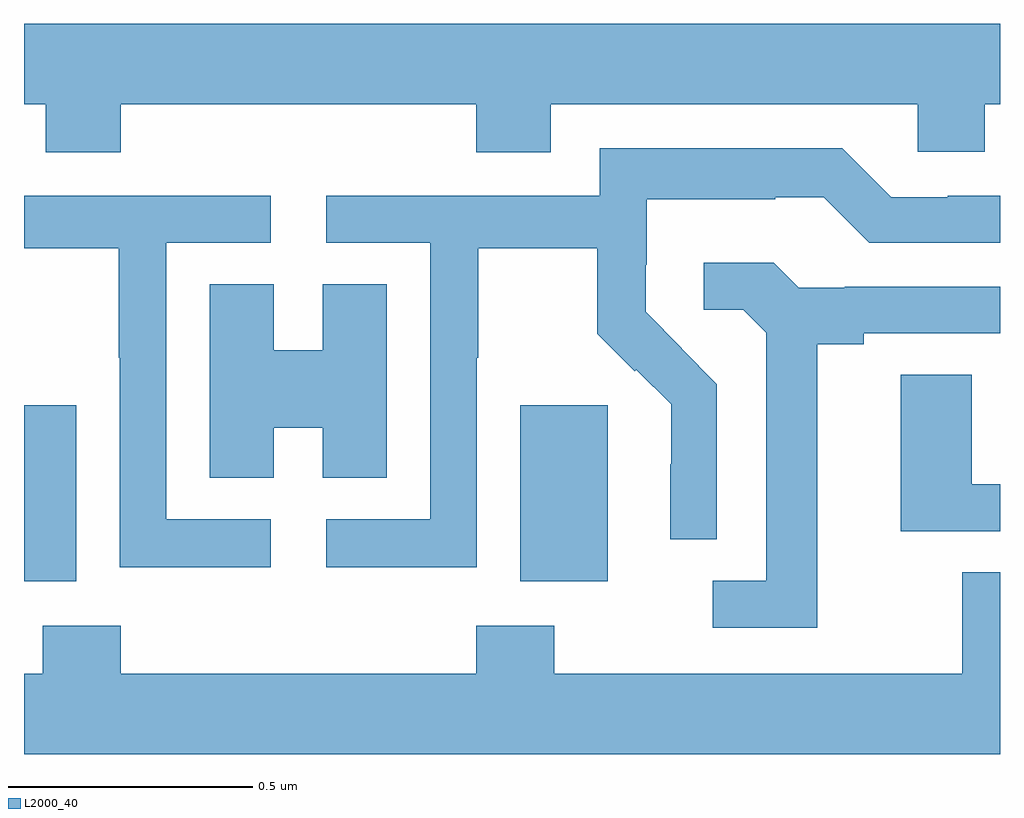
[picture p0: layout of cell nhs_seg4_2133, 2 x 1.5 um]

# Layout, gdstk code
import gdstk
lib = gdstk.Library(unit=1e-6, precision=1e-09)
def R(c, l, rs):  # rectangles x0, y0, x1, y1
    for r in rs: c.add(gdstk.rectangle(r[:2], r[2:], *l))
def P(c, l, *ps):  # polygons
    for p in ps: c.add(gdstk.Polygon(p, *l))
L2000_40 = (2000, 40)

nhs_seg4_2133 = lib.new_cell('nhs_seg4_2133')
R(nhs_seg4_2133, L2000_40, [(137,758.546,137.107,758.907), (138.017,758.546,138.196,758.907)])
P(nhs_seg4_2133, L2000_40, [(137.198,759.524),(137.927,759.524),(137.927,759.425),(138.079,759.425),(138.079,759.524),(138.831,759.524),(138.831,759.426),(138.969,759.426),(138.969,759.524),(139,759.524),(139,759.688),(137,759.688),(137,759.524),(137.045,759.524),(137.045,759.425),(137.198,759.425)],
  [(137.928,759.004),(137.931,759.004),(137.931,759.228),(138.175,759.228),(138.175,759.053),(138.252,758.976),(138.255,758.979),(138.326,758.909),(138.326,758.786),(138.324,758.786),(138.324,758.632),(138.42,758.632),(138.42,758.95),(138.347,759.023),(138.348,759.024),(138.274,759.098),(138.274,759.195),(138.276,759.195),(138.276,759.329),(138.539,759.329),(138.539,759.333),(138.639,759.333),(138.732,759.24),(139,759.24),(139,759.336),(138.893,759.336),(138.893,759.333),(138.777,759.333),(138.677,759.433),(138.18,759.433),(138.18,759.336),(137.619,759.336),(137.619,759.24),(137.832,759.24),(137.832,758.673),(137.619,758.673),(137.619,758.575),(137.928,758.575)],
  [(137.506,758.673),(137.292,758.673),(137.292,759.24),(137.506,759.24),(137.506,759.336),(137,759.336),(137,759.228),(137.194,759.228),(137.194,759.004),(137.196,759.004),(137.196,758.575),(137.506,758.575)],
  [(138.625,759.032),(138.721,759.032),(138.721,759.054),(139,759.054),(139,759.15),(138.682,759.15),(138.682,759.147),(138.588,759.147),(138.536,759.199),(138.393,759.199),(138.393,759.102),(138.474,759.102),(138.521,759.055),(138.521,758.547),(138.411,758.547),(138.411,758.451),(138.625,758.451)],
  [(137.512,758.861),(137.612,758.861),(137.612,758.758),(137.743,758.758),(137.743,759.155),(137.612,759.155),(137.612,759.019),(137.512,759.019),(137.512,759.155),(137.381,759.155),(137.381,758.758),(137.512,758.758)],
  [(139,758.745),(138.942,758.745),(138.942,758.969),(138.797,758.969),(138.797,758.649),(139,758.649)],
  [(139,758.564),(138.923,758.564),(138.923,758.356),(138.087,758.356),(138.087,758.455),(137.927,758.455),(137.927,758.356),(137.198,758.356),(137.198,758.455),(137.038,758.455),(137.038,758.356),(137,758.356),(137,758.192),(139,758.192)])

lib.write_gds('nhs_seg4_2133.gds')
